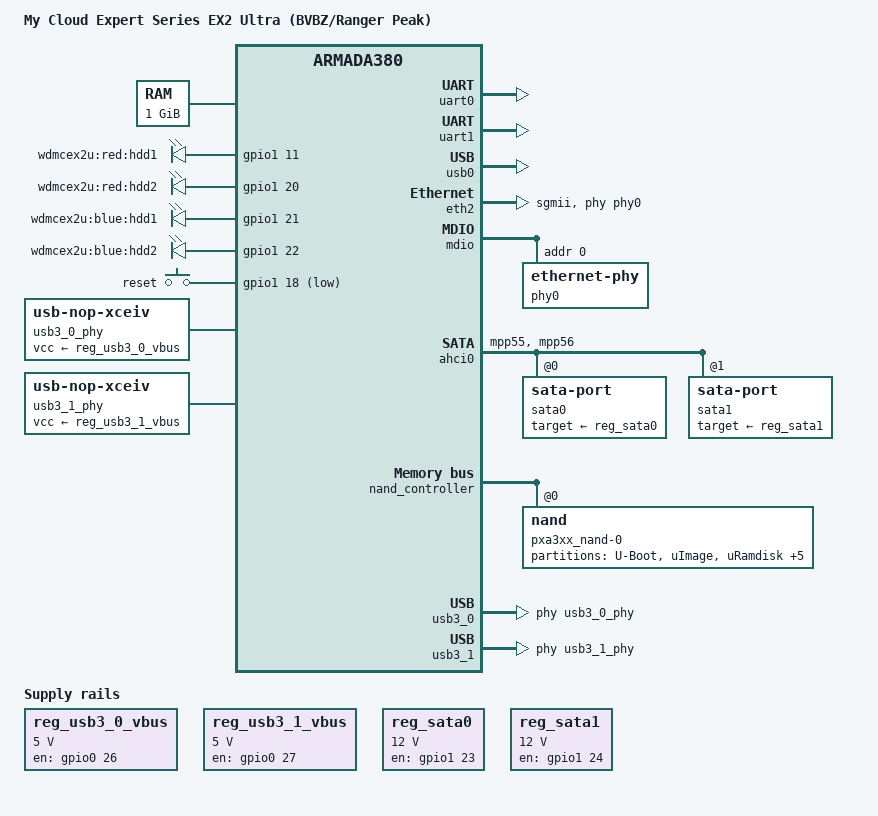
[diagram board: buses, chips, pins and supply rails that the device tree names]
// SPDX-License-Identifier: (GPL-2.0+ OR MIT)
/*
 * Device Tree file for Western Digital My Cloud Expert Series EX2 Ultra
 * (BVBZ/Ranger Peak)
 *
 * Copyright (C) 2020
 *
 * Based on the code from:
 *
 * Copyright (C) 2019 Evgeny Kolesnikov <evgenyz@gmail.com>
 * Copyright (C) 2016 Martin Mueller <mm@sig21.net>
 * Copyright (C) 2013 Gregory CLEMENT <gregory.clement@free-electrons.com>
 * Copyright (C) 2014 Thomas Petazzoni <thomas.petazzoni@free-electrons.com>
 *
 */

/dts-v1/;
#include <dt-bindings/input/input.h>
#include <dt-bindings/gpio/gpio.h>
#include <dt-bindings/leds/common.h>
#include "armada-385.dtsi"

/ {
	model = "My Cloud Expert Series EX2 Ultra (BVBZ/Ranger Peak)";
	compatible = "wd,mcex2u", "marvell,armada385", "marvell,armada380";

	chosen {
		stdout-path = "console=ttyS0,115200 root=LABEL=rootfs earlyprintk";
	};

	memory {
		device_type = "memory";
		reg = <0x00000000 0x40000000>; /* 1024 MB */
	};

	soc {
		ranges = <MBUS_ID(0xf0, 0x01) 0 0xf1000000 0x100000
			  MBUS_ID(0x01, 0x1d) 0 0xfff00000 0x100000
			  MBUS_ID(0x09, 0x19) 0 0xf1100000 0x10000        /* CESA0: PHYS=0xf1100000 size 64K */
			  MBUS_ID(0x09, 0x15) 0 0xf1110000 0x10000        /* CESA1: PHYS=0xf1110000 */
			  MBUS_ID(0x0c, 0x04) 0 0xf1200000 0x100000       /*    BM: PHYS=0xf1200000 size 1M */
			  MBUS_ID(0x0b, 0x04) 0 0xf1300000 0x100000>;     /*   PNC: PHYS=0xf1300000 size 1M */

		internal-regs {
			timer@c200 {
				status = "okay";
			};

			i2c@11000 {
				status = "disabled";
			};

			i2c@11100 {
				status = "disabled";
			};

			uart0: serial@12000 {
				status = "okay";
			};

			/* Connected to Welltrend 6703F-OG240WT MCU
			 * which controls power, fan and other things
			 */
			uart1: serial@12100 {
				status = "okay";
			};

			poweroff@12100 {
				compatible = "uart-poweroff";
				reg = <0x12100 0x100>;
				clocks = <&coreclk 0>;
				baud = <19200>;
				cmd = [fa 03 03 01 00 00 fb];
				status = "okay";
			};

			restart@12100 {
				compatible = "uart-restart";
				reg = <0x12100 0x100>;
				clocks = <&coreclk 0>;
				baud = <19200>;
				cmd = [fa 03 03 02 00 00 fb];
				override;
				status = "okay";
			};
			
			pinctrl: pinctrl@18000 {
				xhci0_vbus_pins: xhci0-vbus-pins {
					marvell,pins = "mpp26";
					marvell,function = "gpio";
				};

				xhci1_vbus_pins: xhci1-vbus-pins {
					marvell,pins = "mpp27";
					marvell,function = "gpio";
				};

				sata0_pins: sata-pins-0 {
					marvell,pins = "mpp55";
					marvell,function = "gpio";
				};

				sata1_pins: sata-pins-1 {
					marvell,pins = "mpp56";
					marvell,function = "gpio";
				};

				sata_leds: sata-leds {
					marvell,pins = "mpp43", "mpp52", "mpp53", "mpp54", "mpp48", "mpp58";
					marvell,function = "gpio";
				};

				btn_pins: btn-pins {
					marvell,pins = "mpp50";
					marvell,function = "gpio";
				};
			};

			usb0: usb@58000 {
				status = "okay";
			};

			eth2: ethernet@34000 {
				status = "okay";
				phy = <&phy0>;
				phy-mode = "sgmii";
				buffer-manager = <&bm>;
				bm,pool-long = <0>;
				bm,pool-short = <1>;
			};

			mdio: mdio@72004 {
				phy0: ethernet-phy@0 {
					/* Init ETH LEDs */
					marvell,reg-init = <3 16 0 0x101e>;
					reg = <0>;
				};
			};

			cesa: crypto@90000 {
				status = "okay";
			};

			rtc: rtc@a3800 {
				status = "okay";
			};

			ahci0: sata@a8000 {
				pinctrl-names = "default";
				pinctrl-0 = <&sata0_pins>, <&sata1_pins>;
				status = "okay";
				#address-cells = <1>;
				#size-cells = <0>;

				sata0: sata-port@0 {
					reg = <0>;
					target-supply = <&reg_sata0>;
				};

				sata1: sata-port@1 {
					reg = <1>;
					target-supply = <&reg_sata1>;
				};

			};

			bm: bm@c8000 {
				status = "okay";
			};

			nand_controller: nand-controller@d0000 {
				status = "okay";

				nand: nand@0 {
					reg = <0>;
					label = "pxa3xx_nand-0";
					nand-rb = <0>;
					marvell,nand-keep-config;
					#marvell,nand-enable-arbiter; //optional
					nand-on-flash-bbt;
					nand-ecc-strength = <4>;
					nand-ecc-step-size = <512>;

					partitions {
						compatible = "fixed-partitions";
						#address-cells = <1>;
						#size-cells = <1>;

						partition@00000000 {
							label = "U-Boot";
							reg = <0x00000000 0x00500000>;    /*   5 MB */
							read-only;
						};

						partition@00500000 {
							label = "uImage";
							reg = <0x00500000 0x00500000>;    /*   5 MB */
						};

						partition@00a00000 {
							label = "uRamdisk";
							reg = <0x00a00000 0x00500000>;    /*   5 MB */
						};
							
						partition@00f00000 {
							label = "image.cfs";
							reg = <0x00f00000 0x0b900000>;    /* 185 MB */
						};

						partition@c800000 {
							label = "rescue fw";
							reg = <0x0c800000 0x00f00000>;    /*  15 MB */
						};
							
						partition@d70000 {
							label = "config";
							reg = <0x0d700000 0x01400000>;    /*  20 MB */
						};
							
						partition@eb00000 {
							label = "reserve1";
							reg = <0x0eb00000 0x00a00000>;    /*  10 MB */
						};
							
						partition@f500000 {
							label = "reserve2";
							reg = <0x0f500000 0x00a00000>;    /*  10 MB */
						};
					};
				};
			};

			usb3_0: usb3@f0000 {
				usb-phy = <&usb3_0_phy>;
				status = "okay";
			};

			usb3_1: usb3@f8000 {
				usb-phy = <&usb3_1_phy>;
				status = "okay";
			};
		};

		bm_bppi: bm-bppi {
			status = "okay";
		};
	};

	gpio-leds {
		compatible = "gpio-leds";
		pinctrl-names = "default";
		pinctrl-0 = <&sata_leds>;

		sata1-red-led {
			label = "wdmcex2u:red:hdd1";
			gpios = <&gpio1 11 GPIO_ACTIVE_HIGH>;
			default-state = "keep";
			panic-indicator;
		};
		sata2-red-led {
			label = "wdmcex2u:red:hdd2";
			gpios = <&gpio1 20 GPIO_ACTIVE_HIGH>;
			default-state = "keep";
			panic-indicator;
		};
		sata1-blue-led {
			label = "wdmcex2u:blue:hdd1";
			gpios = <&gpio1 21 GPIO_ACTIVE_HIGH>;
			default-state = "keep";
		};
		sata2-blue-led {
			label = "wdmcex2u:blue:hdd2";
			gpios = <&gpio1 22 GPIO_ACTIVE_HIGH>;
			default-state = "keep";
		};
	};

	gpio-keys {
		compatible = "gpio-keys";
		pinctrl-names = "default";
		pinctrl-0 = <&btn_pins>;
		#address-cells = <1>;
		#size-cells = <0>;

		reset {
			label = "reset";
			linux,code = <KEY_RESTART>;  // Restart=0x198, Power=0x116
			gpios = <&gpio1 18 GPIO_ACTIVE_LOW>;
			debounce-interval = <60>;
			wakeup-source;
		};
	};

	usb3_0_phy: usb3_0_phy {
		compatible = "usb-nop-xceiv";
		vcc-supply = <&reg_usb3_0_vbus>;
	};

	usb3_1_phy: usb3_1_phy {
		compatible = "usb-nop-xceiv";
		vcc-supply = <&reg_usb3_1_vbus>;
	};

	reg_usb3_0_vbus: usb3-vbus0 {
		compatible = "regulator-fixed";
		regulator-name = "usb3-vbus0";
		pinctrl-names = "default";
		pinctrl-0 = <&xhci0_vbus_pins>;
		regulator-min-microvolt = <5000000>;
		regulator-max-microvolt = <5000000>;
		enable-active-high;
		regulator-always-on;
		gpio = <&gpio0 26 GPIO_ACTIVE_HIGH>;
	};

	reg_usb3_1_vbus: usb3-vbus1 {
		compatible = "regulator-fixed";
		regulator-name = "usb3-vbus1";
		pinctrl-names = "default";
		pinctrl-0 = <&xhci1_vbus_pins>;
		regulator-min-microvolt = <5000000>;
		regulator-max-microvolt = <5000000>;
		enable-active-high;
		regulator-always-on;
		gpio = <&gpio0 27 GPIO_ACTIVE_HIGH>;
	};

	reg_sata0: pwr-sata0 {
		compatible = "regulator-fixed";
		regulator-name = "pwr_en_sata0";
		regulator-min-microvolt = <12000000>;
		regulator-max-microvolt = <12000000>;
		enable-active-high;
		regulator-boot-on;
		gpio = <&gpio1 23 GPIO_ACTIVE_HIGH>;
	};
	
	reg_sata1: pwr-sata1 {
		compatible = "regulator-fixed";
		regulator-name = "pwr_en_sata1";
		regulator-min-microvolt = <12000000>;
		regulator-max-microvolt = <12000000>;
		enable-active-high;
		regulator-boot-on;
		gpio = <&gpio1 24 GPIO_ACTIVE_HIGH>;
	};
};
